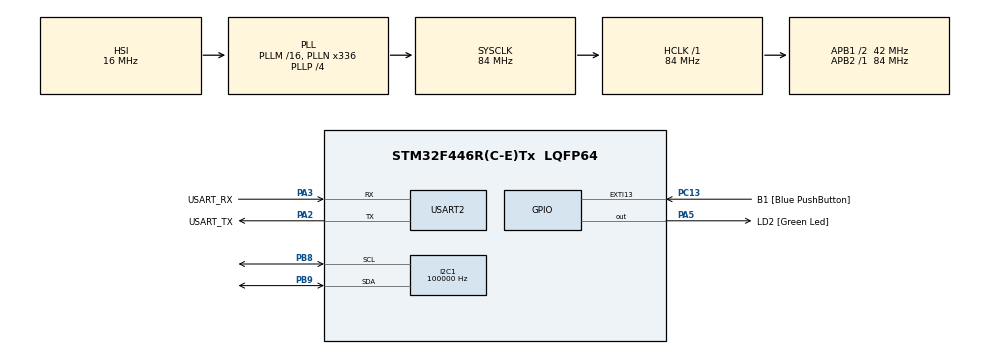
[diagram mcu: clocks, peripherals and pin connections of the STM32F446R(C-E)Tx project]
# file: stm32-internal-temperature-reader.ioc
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ADC1.Channel-0\#ChannelRegularConversion=ADC_CHANNEL_TEMPSENSOR
ADC1.Channel-1\#ChannelRegularConversion=ADC_CHANNEL_VREFINT
ADC1.DMAContinuousRequests=ENABLE
ADC1.DiscontinuousConvMode=DISABLE
ADC1.ExternalTrigConv=ADC_EXTERNALTRIGCONV_T3_TRGO
ADC1.NbrOfConversion=2
ADC1.NbrOfConversionFlag=1
ADC1.Rank-0\#ChannelRegularConversion=1
ADC1.Rank-1\#ChannelRegularConversion=2
ADC1.SamplingTime-0\#ChannelRegularConversion=ADC_SAMPLETIME_84CYCLES
ADC1.SamplingTime-1\#ChannelRegularConversion=ADC_SAMPLETIME_84CYCLES
ADC1.ScanConvMode=ENABLE
ADC1.master=1
Dma.ADC1.0.Direction=DMA_PERIPH_TO_MEMORY
Dma.ADC1.0.FIFOMode=DMA_FIFOMODE_DISABLE
Dma.ADC1.0.Instance=DMA2_Stream4
Dma.ADC1.0.MemDataAlignment=DMA_MDATAALIGN_HALFWORD
Dma.ADC1.0.MemInc=DMA_MINC_ENABLE
Dma.ADC1.0.Mode=DMA_CIRCULAR
Dma.ADC1.0.PeriphDataAlignment=DMA_PDATAALIGN_HALFWORD
Dma.ADC1.0.PeriphInc=DMA_PINC_DISABLE
Dma.ADC1.0.Priority=DMA_PRIORITY_HIGH
Dma.Request0=ADC1
I2C1.ClockSpeed=100000
I2C1.I2C_Mode=I2C_Standard
Mcu.Family=STM32F4
Mcu.Name=STM32F446R(C-E)Tx
Mcu.Package=LQFP64
NVIC.DMA2_Stream4_IRQn=true\:0\:0\:false\:false\:true\:false\:true\:true
NVIC.PriorityGroup=NVIC_PRIORITYGROUP_0
PA13.GPIO_Label=TMS
PA13.Mode=Serial_Wire
PA13.Signal=SYS_JTMS-SWDIO
PA14.GPIO_Label=TCK
PA14.Mode=Serial_Wire
PA14.Signal=SYS_JTCK-SWCLK
PA2.GPIO_Label=USART_TX
PA2.Mode=Asynchronous
PA2.Signal=USART2_TX
PA3.GPIO_Label=USART_RX
PA3.Mode=Asynchronous
PA3.Signal=USART2_RX
PA5.GPIO_Label=LD2 [Green Led]
PA5.Signal=GPIO_Output
PB3.GPIO_Label=SWO
PB3.Signal=SYS_JTDO-SWO
PB8.GPIO_Mode=GPIO_MODE_AF_OD
PB8.GPIO_Pu=GPIO_PULLUP
PB8.GPIO_Speed=GPIO_SPEED_FREQ_LOW
PB8.Mode=I2C
PB8.Signal=I2C1_SCL
PB9.GPIO_Mode=GPIO_MODE_AF_OD
PB9.GPIO_Pu=GPIO_PULLUP
PB9.GPIO_Speed=GPIO_SPEED_FREQ_LOW
PB9.Mode=I2C
PB9.Signal=I2C1_SDA
PC13.GPIO_Label=B1 [Blue PushButton]
PC13.GPIO_ModeDefaultEXTI=GPIO_MODE_IT_FALLING
PC13.Signal=GPXTI13
PC14-OSC32_IN.Mode=LSE-External-Oscillator
PC14-OSC32_IN.Signal=RCC_OSC32_IN
PC15-OSC32_OUT.Mode=LSE-External-Oscillator
PC15-OSC32_OUT.Signal=RCC_OSC32_OUT
PH0-OSC_IN.Mode=HSE-External-Oscillator
PH0-OSC_IN.Signal=RCC_OSC_IN
PH1-OSC_OUT.Mode=HSE-External-Oscillator
PH1-OSC_OUT.Signal=RCC_OSC_OUT
ProjectManager.HeapSize=0x200
ProjectManager.StackSize=0x400
ProjectManager.TargetToolchain=Makefile
RCC.48MHZClocksFreq_Value=84000000
RCC.AHBFreq_Value=84000000
RCC.APB1CLKDivider=RCC_HCLK_DIV2
RCC.APB1Freq_Value=42000000
RCC.APB1TimFreq_Value=84000000
RCC.APB2Freq_Value=84000000
RCC.APB2TimFreq_Value=84000000
RCC.CortexFreq_Value=84000000
RCC.FLatency-AdvancedSettings=FLASH_LATENCY_2
RCC.HCLKFreq_Value=84000000
RCC.HSE_VALUE=8000000
RCC.HSI_VALUE=16000000
RCC.PLLN=336
RCC.PLLP=RCC_PLLP_DIV4
RCC.SYSCLKFreq_VALUE=84000000
RCC.SYSCLKSource=RCC_SYSCLKSOURCE_PLLCLK
RCC.USBFreq_Value=168000000
RCC.VCOOutputFreq_Value=336000000
TIM3.AutoReloadPreload=TIM_AUTORELOAD_PRELOAD_ENABLE
TIM3.Period=100-1
TIM3.Prescaler=8400-1
TIM3.TIM_MasterOutputTrigger=TIM_TRGO_UPDATE
USART2.VirtualMode=VM_ASYNC
VP_ADC1_TempSens_Input.Mode=IN-TempSens
VP_ADC1_Vref_Input.Mode=IN-Vrefint
VP_TIM3_VS_ClockSourceINT.Mode=Internal
board=NUCLEO-F446RE

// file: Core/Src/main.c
/* USER CODE BEGIN Header */
/**
 ******************************************************************************
 * @file           : main.c
 * @brief          : Main program body
 ******************************************************************************
 * @attention
 *
 * Copyright (c) 2024 STMicroelectronics.
 * All rights reserved.
 *
 * This software is licensed under terms that can be found in the LICENSE file
 * in the root directory of this software component.
 * If no LICENSE file comes with this software, it is provided AS-IS.
 *
 ******************************************************************************
 */
/* USER CODE END Header */
#include "main.h"

/* USER CODE BEGIN Includes */
#include <lcd_driver.h>

/* USER CODE END Includes */

/* USER CODE BEGIN PD */

#define ADC_RESOLUTION 4095
#define ADC_SAMPLES 100
/* USER CODE END PD */

ADC_HandleTypeDef hadc1;
DMA_HandleTypeDef hdma_adc1;

I2C_HandleTypeDef hi2c1;

TIM_HandleTypeDef htim3;

UART_HandleTypeDef huart2;

/* USER CODE BEGIN PV */
uint16_t adc_buffer[ADC_SAMPLES * 2 * 2] = {0};
uint32_t tim_cnt = 0;

uint16_t vref_avg = 0;
uint16_t temp_avg = 0;
float vdda = 0; // Result of VDDA calculation
float vref = 0; // Result of vref calculation
float temp = 0; // Result of temp calculation
/* USER CODE END PV */

void SystemClock_Config(void);
static void MX_GPIO_Init(void);
static void MX_DMA_Init(void);
static void MX_USART2_UART_Init(void);
static void MX_I2C1_Init(void);
static void MX_ADC1_Init(void);
static void MX_TIM3_Init(void);

/* USER CODE BEGIN 0 */

void Process_ADC_Buffer(uint16_t *buffer)
{
    char uart_buf_it[50];
    int uart_buf_len_it;
    uint32_t sum1 = 0, sum2 = 0;
    for (int i = 0; i < ADC_SAMPLES; ++i)
    {
        sum1 += buffer[i * 2];
        sum2 += buffer[1 + i * 2];
    }

    vref_avg = sum2 / ADC_SAMPLES;
    temp_avg = sum1 / ADC_SAMPLES;

    // VDDA can be calculated based on the measured vref and the calibration data
    vdda = (float)VREFINT_CAL_VREF * (float)*VREFINT_CAL_ADDR / vref_avg / 1000;

    // Knowing vdda and the resolution of adc - the actual voltage can be calculated
    vref = (float)vdda / ADC_RESOLUTION * vref_avg;
    // vref = __LL_ADC_CALC_VREFANALOG_VOLTAGE(vref_avg, ADC_RESOLUTION_12B);

    temp = (float)((float)((float)(TEMPSENSOR_CAL2_TEMP - TEMPSENSOR_CAL1_TEMP) / (float)(*TEMPSENSOR_CAL2_ADDR - *TEMPSENSOR_CAL1_ADDR)) * (temp_avg - *TEMPSENSOR_CAL1_ADDR) + TEMPSENSOR_CAL1_TEMP);
    // temp = __LL_ADC_CALC_TEMPERATURE(vref, temp_avg, ADC_RESOLUTION_12B);
}

void HAL_ADC_ConvHalfCpltCallback(ADC_HandleTypeDef *hadc)
{
    Process_ADC_Buffer(&adc_buffer[0]);
}

void HAL_ADC_ConvCpltCallback(ADC_HandleTypeDef *hadc)
{
    Process_ADC_Buffer(&adc_buffer[ADC_SAMPLES * 2]);
}

/* USER CODE END 0 */

int main(void)
{

    /* USER CODE BEGIN 1 */
    //	int lcd_return;
    //	  HAL_StatusTypeDef ret;
    //	  uint8_t buf[12];
    //	  int16_t val;
    //	  float temp_c;

    /* USER CODE END 1 */

    /* MCU Configuration--------------------------------------------------------*/

    /* Reset of all peripherals, Initializes the Flash interface and the Systick. */
    HAL_Init();

    /* Configure the system clock */
    SystemClock_Config();

    /* Initialize all configured peripherals */
    MX_GPIO_Init();
    MX_DMA_Init();
    MX_USART2_UART_Init();
    MX_I2C1_Init();
    MX_ADC1_Init();
    MX_TIM3_Init();
    /* USER CODE BEGIN 2 */
    HAL_StatusTypeDef ret;

    int uart_buf_len;
    char uart_buf[50];
    uint32_t now, then = 0;

    /* USER CODE END 2 */

    /* Infinite loop */
    /* USER CODE BEGIN WHILE */

    LCD_Setup(&hi2c1);

    LCD_Write_String_Non_Debug(&hi2c1, "Initialising");

    //	Setup the timer
    LCD_Set_Cursor_Position_Non_Debug(&hi2c1, 1, 0);
    // LCD_Write_String_Non_Debug(&hi2c1, "Setting up timer");
    HAL_TIM_Base_Start_IT(&htim3);
    HAL_ADC_Start_DMA(&hadc1, (uint32_t *)adc_buffer, (ADC_SAMPLES * 2 * 2));

    char *temp_string_second = malloc(sizeof(char) * 8);
    char *vref_string_second = malloc(sizeof(char) * 8);
    LCD_Reset(&hi2c1);

    // Super-Loop
    while (1)
    {
        now = HAL_GetTick();
        // execute after 1 second
        if (now - then >= 1000)
        {
            // Set cursor to the beginning to redraw the screen
            LCD_Set_Cursor_Position_Non_Debug(&hi2c1, 1, 0);
            // Write to UART (Debugging
            memset(uart_buf, 0, sizeof(uart_buf));
            uart_buf_len = sprintf(uart_buf, "Temperature = %4.2f °C   Vref = %2.2f V\r\n", temp, vref);
            HAL_UART_Transmit(&huart2, (uint8_t *)uart_buf, uart_buf_len, 100);

            // Write to LCD Screen
            char temp_string_first[20] = "Temp ";
            sprintf(temp_string_second, "%.2f C", (temp));
            strcat(temp_string_first, temp_string_second);
            LCD_Write_String_Non_Debug(&hi2c1, temp_string_first);
            LCD_Set_Cursor_Position_Non_Debug(&hi2c1, 2, 0);

            char vref_string_first[20] = "Vref ";
            sprintf(vref_string_second, "%.2f V", (vref));
            strcat(vref_string_first, vref_string_second);
            LCD_Write_String_Non_Debug(&hi2c1, vref_string_first);

            then = now;
        }

        /* USER CODE END WHILE */

    }
}

void SystemClock_Config(void)
{
    RCC_OscInitTypeDef RCC_OscInitStruct = {0};
    RCC_ClkInitTypeDef RCC_ClkInitStruct = {0};

    /** Configure the main internal regulator output voltage
     */
    __HAL_RCC_PWR_CLK_ENABLE();
    __HAL_PWR_VOLTAGESCALING_CONFIG(PWR_REGULATOR_VOLTAGE_SCALE3);

    /** Initializes the RCC Oscillators according to the specified parameters
     * in the RCC_OscInitTypeDef structure.
     */
    RCC_OscInitStruct.OscillatorType = RCC_OSCILLATORTYPE_HSI;
    RCC_OscInitStruct.HSIState = RCC_HSI_ON;
    RCC_OscInitStruct.HSICalibrationValue = RCC_HSICALIBRATION_DEFAULT;
    RCC_OscInitStruct.PLL.PLLState = RCC_PLL_ON;
    RCC_OscInitStruct.PLL.PLLSource = RCC_PLLSOURCE_HSI;
    RCC_OscInitStruct.PLL.PLLM = 16;
    RCC_OscInitStruct.PLL.PLLN = 336;
    RCC_OscInitStruct.PLL.PLLP = RCC_PLLP_DIV4;
    RCC_OscInitStruct.PLL.PLLQ = 2;
    RCC_OscInitStruct.PLL.PLLR = 2;
    if (HAL_RCC_OscConfig(&RCC_OscInitStruct) != HAL_OK)
    {
        Error_Handler();
    }

    /** Initializes the CPU, AHB and APB buses clocks
     */
    RCC_ClkInitStruct.ClockType = RCC_CLOCKTYPE_HCLK | RCC_CLOCKTYPE_SYSCLK | RCC_CLOCKTYPE_PCLK1 | RCC_CLOCKTYPE_PCLK2;
    RCC_ClkInitStruct.SYSCLKSource = RCC_SYSCLKSOURCE_PLLCLK;
    RCC_ClkInitStruct.AHBCLKDivider = RCC_SYSCLK_DIV1;
    RCC_ClkInitStruct.APB1CLKDivider = RCC_HCLK_DIV2;
    RCC_ClkInitStruct.APB2CLKDivider = RCC_HCLK_DIV1;

    if (HAL_RCC_ClockConfig(&RCC_ClkInitStruct, FLASH_LATENCY_2) != HAL_OK)
    {
        Error_Handler();
    }
}

static void MX_ADC1_Init(void)
{

    ADC_ChannelConfTypeDef sConfig = {0};

    /** Configure the global features of the ADC (Clock, Resolution, Data Alignment and number of conversion)
     */
    hadc1.Instance = ADC1;
    hadc1.Init.ClockPrescaler = ADC_CLOCK_SYNC_PCLK_DIV4;
    hadc1.Init.Resolution = ADC_RESOLUTION_12B;
    hadc1.Init.ScanConvMode = ENABLE;
    hadc1.Init.ContinuousConvMode = DISABLE;
    hadc1.Init.DiscontinuousConvMode = DISABLE;
    hadc1.Init.ExternalTrigConvEdge = ADC_EXTERNALTRIGCONVEDGE_RISING;
    hadc1.Init.ExternalTrigConv = ADC_EXTERNALTRIGCONV_T3_TRGO;
    hadc1.Init.DataAlign = ADC_DATAALIGN_RIGHT;
    hadc1.Init.NbrOfConversion = 2;
    hadc1.Init.DMAContinuousRequests = ENABLE;
    hadc1.Init.EOCSelection = ADC_EOC_SINGLE_CONV;
    if (HAL_ADC_Init(&hadc1) != HAL_OK)
    {
        Error_Handler();
    }

    /** Configure for the selected ADC regular channel its corresponding rank in the sequencer and its sample time.
     */
    sConfig.Channel = ADC_CHANNEL_TEMPSENSOR;
    sConfig.Rank = 1;
    sConfig.SamplingTime = ADC_SAMPLETIME_84CYCLES;
    if (HAL_ADC_ConfigChannel(&hadc1, &sConfig) != HAL_OK)
    {
        Error_Handler();
    }

    /** Configure for the selected ADC regular channel its corresponding rank in the sequencer and its sample time.
     */
    sConfig.Channel = ADC_CHANNEL_VREFINT;
    sConfig.Rank = 2;
    if (HAL_ADC_ConfigChannel(&hadc1, &sConfig) != HAL_OK)
    {
        Error_Handler();
    }
}

static void MX_I2C1_Init(void)
{

    hi2c1.Instance = I2C1;
    hi2c1.Init.ClockSpeed = 100000;
    hi2c1.Init.DutyCycle = I2C_DUTYCYCLE_2;
    hi2c1.Init.OwnAddress1 = 0;
    hi2c1.Init.AddressingMode = I2C_ADDRESSINGMODE_7BIT;
    hi2c1.Init.DualAddressMode = I2C_DUALADDRESS_DISABLE;
    hi2c1.Init.OwnAddress2 = 0;
    hi2c1.Init.GeneralCallMode = I2C_GENERALCALL_DISABLE;
    hi2c1.Init.NoStretchMode = I2C_NOSTRETCH_DISABLE;
    if (HAL_I2C_Init(&hi2c1) != HAL_OK)
    {
        Error_Handler();
    }
}

static void MX_TIM3_Init(void)
{

    TIM_ClockConfigTypeDef sClockSourceConfig = {0};
    TIM_MasterConfigTypeDef sMasterConfig = {0};

    htim3.Instance = TIM3;
    htim3.Init.Prescaler = 8400 - 1;
    htim3.Init.CounterMode = TIM_COUNTERMODE_UP;
    htim3.Init.Period = 100 - 1;
    htim3.Init.ClockDivision = TIM_CLOCKDIVISION_DIV1;
    htim3.Init.AutoReloadPreload = TIM_AUTORELOAD_PRELOAD_ENABLE;
    if (HAL_TIM_Base_Init(&htim3) != HAL_OK)
    {
        Error_Handler();
    }
    sClockSourceConfig.ClockSource = TIM_CLOCKSOURCE_INTERNAL;
    if (HAL_TIM_ConfigClockSource(&htim3, &sClockSourceConfig) != HAL_OK)
    {
        Error_Handler();
    }
    sMasterConfig.MasterOutputTrigger = TIM_TRGO_UPDATE;
    sMasterConfig.MasterSlaveMode = TIM_MASTERSLAVEMODE_DISABLE;
    if (HAL_TIMEx_MasterConfigSynchronization(&htim3, &sMasterConfig) != HAL_OK)
    {
        Error_Handler();
    }
}

static void MX_USART2_UART_Init(void)
{

    huart2.Instance = USART2;
    huart2.Init.BaudRate = 115200;
    huart2.Init.WordLength = UART_WORDLENGTH_8B;
    huart2.Init.StopBits = UART_STOPBITS_1;
    huart2.Init.Parity = UART_PARITY_NONE;
    huart2.Init.Mode = UART_MODE_TX_RX;
    huart2.Init.HwFlowCtl = UART_HWCONTROL_NONE;
    huart2.Init.OverSampling = UART_OVERSAMPLING_16;
    if (HAL_UART_Init(&huart2) != HAL_OK)
    {
        Error_Handler();
    }
}

static void MX_DMA_Init(void)
{

    /* DMA controller clock enable */
    __HAL_RCC_DMA2_CLK_ENABLE();

    /* DMA interrupt init */
    /* DMA2_Stream4_IRQn interrupt configuration */
    HAL_NVIC_SetPriority(DMA2_Stream4_IRQn, 0, 0);
    HAL_NVIC_EnableIRQ(DMA2_Stream4_IRQn);
}

static void MX_GPIO_Init(void)
{
    GPIO_InitTypeDef GPIO_InitStruct = {0};

    /* GPIO Ports Clock Enable */
    __HAL_RCC_GPIOC_CLK_ENABLE();
    __HAL_RCC_GPIOH_CLK_ENABLE();
    __HAL_RCC_GPIOA_CLK_ENABLE();
    __HAL_RCC_GPIOB_CLK_ENABLE();

    /*Configure GPIO pin Output Level */
    HAL_GPIO_WritePin(LD2_GPIO_Port, LD2_Pin, GPIO_PIN_RESET);

    /*Configure GPIO pin : B1_Pin */
    GPIO_InitStruct.Pin = B1_Pin;
    GPIO_InitStruct.Mode = GPIO_MODE_IT_FALLING;
    GPIO_InitStruct.Pull = GPIO_NOPULL;
    HAL_GPIO_Init(B1_GPIO_Port, &GPIO_InitStruct);

    /*Configure GPIO pin : LD2_Pin */
    GPIO_InitStruct.Pin = LD2_Pin;
    GPIO_InitStruct.Mode = GPIO_MODE_OUTPUT_PP;
    GPIO_InitStruct.Pull = GPIO_NOPULL;
    GPIO_InitStruct.Speed = GPIO_SPEED_FREQ_LOW;
    HAL_GPIO_Init(LD2_GPIO_Port, &GPIO_InitStruct);

}

void Error_Handler(void)
{
    __disable_irq();
    while (1)
    {
    }
}
